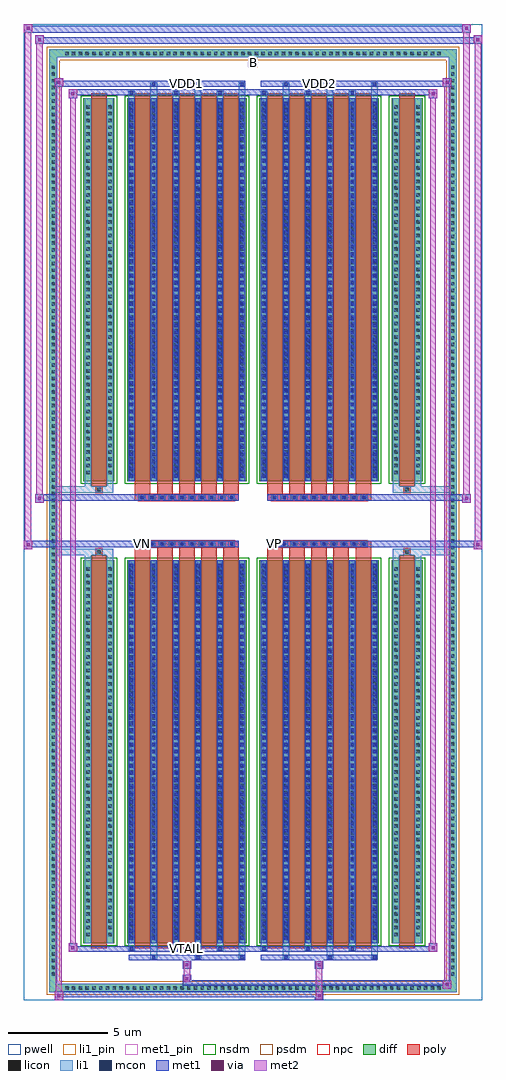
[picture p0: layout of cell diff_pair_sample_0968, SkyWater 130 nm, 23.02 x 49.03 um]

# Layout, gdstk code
import gdstk
lib = gdstk.Library(unit=1e-6, precision=5e-09)
def R(c, l, rs):  # rectangles x0, y0, x1, y1
    for r in rs: c.add(gdstk.rectangle(r[:2], r[2:], *l))
def A(c, l, x, y, w, h, nx, ny, dx, dy):  # array of equal rectangles
    R(c, l, [(x+i*dx, y+j*dy, x+i*dx+w, y+j*dy+h) for i in range(nx) for j in range(ny)])
def P(c, l, *ps):  # polygons
    for p in ps: c.add(gdstk.Polygon(p, *l))
pwell = (64, 44)
diff = (65, 20)
poly = (66, 20)
licon = (66, 44)
li1_pin = (67, 16)
li1 = (67, 20)
mcon = (67, 44)
met1_pin = (68, 16)
met1 = (68, 20)
via = (68, 44)
met2 = (69, 20)
nsdm = (93, 44)
psdm = (94, 20)
npc = (95, 20)

diff_pair_sample_0968 = lib.new_cell('diff_pair_sample_0968')
R(diff_pair_sample_0968, pwell, [(-11.51,-24.08,11.51,24.95), (-8.83,-22.27,-0.01,-0.805), (0.01,-22.27,8.83,-0.805), (-8.83,0.805,-0.01,22.27), (0.01,0.805,8.83,22.27)])
A(diff_pair_sample_0968, diff, -9.555, -23.68, 0.41, 0.41, 56, 2, 0.34, 46.95)
A(diff_pair_sample_0968, diff, -10.24, -22.985, 0.41, 0.41, 1, 135, 0, 0.34)
A(diff_pair_sample_0968, diff, 9.83, -22.985, 0.41, 0.41, 1, 135, 0, 0.34)
R(diff_pair_sample_0968, diff, [(-9.555,-23.68,9.555,-23.27), (-10.24,-22.985,-9.83,22.985), (9.83,-22.985,10.24,22.985), (-8.52,-21.225,-6.96,-1.985), (-6.32,-21.225,-0.32,-1.985), (0.32,-21.225,6.32,-1.985), (6.96,-21.225,8.52,-1.985), (-8.52,1.985,-6.96,21.225), (-6.32,1.985,-0.32,21.225), (0.32,1.985,6.32,21.225), (6.96,1.985,8.52,21.225), (-9.555,23.27,9.555,23.68)])
P(diff_pair_sample_0968, diff, [(10.24,23.68),(-10.24,23.68),(-10.24,-23.27),(-9.83,-23.27),(-9.83,23.27),(9.83,23.27),(9.83,-23.27),(-9.83,-23.27),(-10.24,-23.27),(-10.24,-23.68),(10.24,-23.68)])
A(diff_pair_sample_0968, poly, -5.93, -21.475, 0.78, 19.74, 5, 2, 1.11, 23.21)
A(diff_pair_sample_0968, poly, 0.71, -21.475, 0.78, 19.74, 5, 2, 1.11, 23.21)
A(diff_pair_sample_0968, poly, -5.93, -1.735, 0.78, 0.4, 5, 2, 1.11, 3.07)
A(diff_pair_sample_0968, poly, 0.71, -1.735, 0.78, 0.4, 5, 2, 1.11, 3.07)
A(diff_pair_sample_0968, poly, -5.735, -1.335, 0.33, 0.33, 10, 2, 0.5, 2.34)
A(diff_pair_sample_0968, poly, 0.905, -1.335, 0.33, 0.33, 10, 2, 0.5, 2.34)
R(diff_pair_sample_0968, poly, [(-8.13,-21.475,-7.35,-1.735), (7.35,-21.475,8.13,-1.735), (-7.905,-1.735,-7.575,-1.405), (-7.905,-1.735,-7.575,-1.405), (7.575,-1.735,7.905,-1.405), (7.575,-1.735,7.905,-1.405), (-5.93,-1.335,-0.71,-1.005), (0.71,-1.335,5.93,-1.005), (-5.93,1.005,-0.71,1.335), (0.71,1.005,5.93,1.335), (-7.905,1.405,-7.575,1.735), (-7.905,1.405,-7.575,1.735), (7.575,1.405,7.905,1.735), (7.575,1.405,7.905,1.735), (-8.13,1.735,-7.35,21.475), (7.35,1.735,8.13,21.475)])
A(diff_pair_sample_0968, licon, -9.435, -23.56, 0.17, 0.17, 56, 2, 0.34, 46.95)
A(diff_pair_sample_0968, licon, -10.12, -22.865, 0.17, 0.17, 1, 135, 0, 0.34)
A(diff_pair_sample_0968, licon, 9.95, -22.865, 0.17, 0.17, 1, 135, 0, 0.34)
A(diff_pair_sample_0968, licon, -8.38, -20.87, 0.17, 0.17, 1, 55, 0, 0.34)
A(diff_pair_sample_0968, licon, -7.27, -20.87, 0.17, 0.17, 1, 55, 0, 0.34)
A(diff_pair_sample_0968, licon, -6.18, -20.87, 0.17, 0.17, 6, 55, 1.11, 0.34)
A(diff_pair_sample_0968, licon, 0.46, -20.87, 0.17, 0.17, 6, 55, 1.11, 0.34)
A(diff_pair_sample_0968, licon, 7.1, -20.87, 0.17, 0.17, 1, 55, 0, 0.34)
A(diff_pair_sample_0968, licon, 8.21, -20.87, 0.17, 0.17, 1, 55, 0, 0.34)
A(diff_pair_sample_0968, licon, -5.655, -1.255, 0.17, 0.17, 10, 2, 0.5, 2.34)
A(diff_pair_sample_0968, licon, 0.985, -1.255, 0.17, 0.17, 10, 2, 0.5, 2.34)
A(diff_pair_sample_0968, licon, -8.38, 2.34, 0.17, 0.17, 1, 55, 0, 0.34)
A(diff_pair_sample_0968, licon, -7.27, 2.34, 0.17, 0.17, 1, 55, 0, 0.34)
A(diff_pair_sample_0968, licon, -6.18, 2.34, 0.17, 0.17, 6, 55, 1.11, 0.34)
A(diff_pair_sample_0968, licon, 0.46, 2.34, 0.17, 0.17, 6, 55, 1.11, 0.34)
A(diff_pair_sample_0968, licon, 7.1, 2.34, 0.17, 0.17, 1, 55, 0, 0.34)
A(diff_pair_sample_0968, licon, 8.21, 2.34, 0.17, 0.17, 1, 55, 0, 0.34)
R(diff_pair_sample_0968, licon, [(-7.825,-1.655,-7.655,-1.485), (7.655,-1.655,7.825,-1.485), (-7.825,1.485,-7.655,1.655), (7.655,1.485,7.825,1.655)])
R(diff_pair_sample_0968, li1_pin, [(-0.25,22.77,0.25,23.27)])
A(diff_pair_sample_0968, li1, -9.515, -23.64, 0.33, 0.33, 56, 2, 0.34, 46.95)
A(diff_pair_sample_0968, li1, -10.2, -22.945, 0.33, 0.33, 1, 135, 0, 0.34)
A(diff_pair_sample_0968, li1, 9.87, -22.945, 0.33, 0.33, 1, 135, 0, 0.34)
A(diff_pair_sample_0968, li1, -5.15, -22.03, 0.33, 0.805, 3, 2, 2.22, 43.255)
A(diff_pair_sample_0968, li1, -5.07, -22.03, 0.17, 0.17, 3, 2, 2.22, 43.89)
A(diff_pair_sample_0968, li1, 1.49, -22.03, 0.33, 0.805, 3, 2, 2.22, 43.255)
A(diff_pair_sample_0968, li1, 1.57, -22.03, 0.17, 0.17, 3, 2, 2.22, 43.89)
A(diff_pair_sample_0968, li1, -6.26, -21.6, 0.33, 0.375, 3, 2, 2.22, 42.825)
A(diff_pair_sample_0968, li1, -6.18, -21.6, 0.17, 0.17, 3, 2, 2.22, 43.03)
A(diff_pair_sample_0968, li1, 0.38, -21.6, 0.33, 0.375, 3, 2, 2.22, 42.825)
A(diff_pair_sample_0968, li1, 0.46, -21.6, 0.17, 0.17, 3, 2, 2.22, 43.03)
A(diff_pair_sample_0968, li1, -6.26, -21.225, 0.33, 19.24, 6, 2, 1.11, 23.21)
A(diff_pair_sample_0968, li1, 0.38, -21.225, 0.33, 19.24, 6, 2, 1.11, 23.21)
A(diff_pair_sample_0968, li1, -6.18, -21.05, 0.17, 0.17, 6, 53, 1.11, 0.36)
A(diff_pair_sample_0968, li1, -6.18, -21.05, 0.17, 18.89, 6, 2, 1.11, 23.21)
A(diff_pair_sample_0968, li1, 0.46, -21.05, 0.17, 0.17, 6, 53, 1.11, 0.36)
A(diff_pair_sample_0968, li1, 0.46, -21.05, 0.17, 18.89, 6, 2, 1.11, 23.21)
A(diff_pair_sample_0968, li1, -8.46, -20.95, 0.33, 0.33, 1, 55, 0, 0.34)
A(diff_pair_sample_0968, li1, -7.35, -20.95, 0.33, 0.33, 1, 55, 0, 0.34)
A(diff_pair_sample_0968, li1, -6.26, -20.95, 0.33, 0.33, 6, 55, 1.11, 0.34)
A(diff_pair_sample_0968, li1, 0.38, -20.95, 0.33, 0.33, 6, 55, 1.11, 0.34)
A(diff_pair_sample_0968, li1, 7.02, -20.95, 0.33, 0.33, 1, 55, 0, 0.34)
A(diff_pair_sample_0968, li1, 8.13, -20.95, 0.33, 0.33, 1, 55, 0, 0.34)
A(diff_pair_sample_0968, li1, -5.735, -1.335, 0.33, 0.33, 10, 2, 0.5, 2.34)
A(diff_pair_sample_0968, li1, 0.905, -1.335, 0.33, 0.33, 10, 2, 0.5, 2.34)
A(diff_pair_sample_0968, li1, -6.18, 2.16, 0.17, 0.17, 6, 53, 1.11, 0.36)
A(diff_pair_sample_0968, li1, 0.46, 2.16, 0.17, 0.17, 6, 53, 1.11, 0.36)
A(diff_pair_sample_0968, li1, -8.46, 2.26, 0.33, 0.33, 1, 55, 0, 0.34)
A(diff_pair_sample_0968, li1, -7.35, 2.26, 0.33, 0.33, 1, 55, 0, 0.34)
A(diff_pair_sample_0968, li1, -6.26, 2.26, 0.33, 0.33, 6, 55, 1.11, 0.34)
A(diff_pair_sample_0968, li1, 0.38, 2.26, 0.33, 0.33, 6, 55, 1.11, 0.34)
A(diff_pair_sample_0968, li1, 7.02, 2.26, 0.33, 0.33, 1, 55, 0, 0.34)
A(diff_pair_sample_0968, li1, 8.13, 2.26, 0.33, 0.33, 1, 55, 0, 0.34)
R(diff_pair_sample_0968, li1, [(-10.24,-23.68,-9.83,-23.27), (-10.24,-23.68,-9.83,-23.27), (-9.83,-23.68,9.83,-23.27), (9.83,-23.68,10.24,-23.27), (9.83,-23.68,10.24,-23.27), (-10.24,-23.27,-9.83,23.27), (9.83,-23.27,10.24,23.27), (-8.46,-21.225,-8.13,-1.985), (-7.35,-21.225,-7.02,-1.985), (7.02,-21.225,7.35,-1.985), (8.13,-21.225,8.46,-1.985), (-8.46,-1.985,-8.13,-1.405), (-7.35,-1.985,-7.02,-1.405), (7.02,-1.985,7.35,-1.405), (8.13,-1.985,8.46,-1.405), (-10.24,-1.735,-7.905,-1.405), (-8.46,-1.735,-7.905,-1.405), (-7.905,-1.735,-7.575,-1.405), (-7.575,-1.735,-7.02,-1.405), (7.02,-1.735,7.575,-1.405), (7.575,-1.735,7.905,-1.405), (7.575,-1.735,10.24,-1.405), (7.905,-1.735,8.46,-1.405), (-10.24,1.405,-7.905,1.735), (-8.46,1.405,-7.905,1.735), (-8.46,1.405,-8.13,1.985), (-7.905,1.405,-7.575,1.735), (-7.575,1.405,-7.02,1.735), (-7.35,1.405,-7.02,1.985), (7.02,1.405,7.575,1.735), (7.02,1.405,7.35,1.985), (7.575,1.405,7.905,1.735), (7.575,1.405,10.24,1.735), (7.905,1.405,8.46,1.735), (8.13,1.405,8.46,1.985), (-8.46,1.985,-8.13,21.225), (-7.35,1.985,-7.02,21.225), (7.02,1.985,7.35,21.225), (8.13,1.985,8.46,21.225), (-10.24,23.27,-9.83,23.68), (-10.24,23.27,-9.83,23.68), (-9.83,23.27,9.83,23.68), (9.83,23.27,10.24,23.68), (9.83,23.27,10.24,23.68)])
A(diff_pair_sample_0968, mcon, -5.07, -22.03, 0.17, 0.17, 3, 2, 2.22, 43.89)
A(diff_pair_sample_0968, mcon, 1.57, -22.03, 0.17, 0.17, 3, 2, 2.22, 43.89)
A(diff_pair_sample_0968, mcon, -6.18, -21.6, 0.17, 0.17, 3, 2, 2.22, 43.03)
A(diff_pair_sample_0968, mcon, 0.46, -21.6, 0.17, 0.17, 3, 2, 2.22, 43.03)
A(diff_pair_sample_0968, mcon, -6.18, -21.05, 0.17, 0.17, 6, 53, 1.11, 0.36)
A(diff_pair_sample_0968, mcon, 0.46, -21.05, 0.17, 0.17, 6, 53, 1.11, 0.36)
A(diff_pair_sample_0968, mcon, -5.655, -1.255, 0.17, 0.17, 10, 2, 0.5, 2.34)
A(diff_pair_sample_0968, mcon, 0.985, -1.255, 0.17, 0.17, 10, 2, 0.5, 2.34)
A(diff_pair_sample_0968, mcon, -6.18, 2.16, 0.17, 0.17, 6, 53, 1.11, 0.36)
A(diff_pair_sample_0968, mcon, 0.46, 2.16, 0.17, 0.17, 6, 53, 1.11, 0.36)
R(diff_pair_sample_0968, met1_pin, [(-3.455,-21.64,-3.185,-21.37), (-5.705,-1.295,-5.435,-1.025), (0.935,-1.295,1.205,-1.025), (-3.455,21.82,-3.185,22.09), (3.185,21.82,3.455,22.09)])
A(diff_pair_sample_0968, met1, -5.13, -22.09, 0.29, 0.29, 3, 2, 2.22, 43.89)
A(diff_pair_sample_0968, met1, 1.51, -22.09, 0.29, 0.29, 3, 2, 2.22, 43.89)
A(diff_pair_sample_0968, met1, -6.24, -21.66, 0.29, 0.29, 3, 2, 2.22, 43.03)
A(diff_pair_sample_0968, met1, 0.4, -21.66, 0.29, 0.29, 3, 2, 2.22, 43.03)
A(diff_pair_sample_0968, met1, -6.24, -21.225, 0.29, 19.24, 6, 2, 1.11, 23.21)
A(diff_pair_sample_0968, met1, 0.4, -21.225, 0.29, 19.24, 6, 2, 1.11, 23.21)
A(diff_pair_sample_0968, met1, -6.24, -21.11, 0.29, 0.29, 6, 53, 1.11, 0.36)
A(diff_pair_sample_0968, met1, 0.4, -21.11, 0.29, 0.29, 6, 53, 1.11, 0.36)
A(diff_pair_sample_0968, met1, -5.715, -1.315, 0.29, 0.29, 10, 2, 0.5, 2.34)
A(diff_pair_sample_0968, met1, 0.925, -1.315, 0.29, 0.29, 10, 2, 0.5, 2.34)
A(diff_pair_sample_0968, met1, -6.24, 2.1, 0.29, 0.29, 6, 53, 1.11, 0.36)
A(diff_pair_sample_0968, met1, 0.4, 2.1, 0.29, 0.29, 6, 53, 1.11, 0.36)
R(diff_pair_sample_0968, met1, [(-9.97,-24.08,-9.54,-23.65), (3.105,-24.08,3.535,-23.65), (-9.97,-23.94,3.535,-23.65), (9.54,-23.51,9.97,-23.08), (-3.535,-23.37,9.97,-23.08), (-3.535,-23.23,-3.105,-22.8), (-3.535,-22.52,-3.105,-22.09), (3.105,-22.52,3.535,-22.09), (-6.24,-22.09,-0.4,-21.8), (0.4,-22.09,6.24,-21.8), (-9.26,-21.66,-8.83,-21.23), (-9.26,-21.66,-6.24,-21.37), (-6.24,-21.66,-0.4,-21.37), (-0.4,-21.66,0.4,-21.37), (0.4,-21.66,6.24,-21.37), (6.24,-21.66,9.26,-21.37), (8.83,-21.66,9.26,-21.23), (-11.51,-1.435,-11.08,-1.005), (11.08,-1.435,11.51,-1.005), (-11.51,-1.335,-0.71,-1.005), (-5.93,-1.335,-0.71,-1.005), (0.71,-1.335,5.93,-1.005), (0.71,-1.335,11.51,-1.005), (-10.94,0.905,-10.51,1.335), (10.51,0.905,10.94,1.335), (-10.94,1.005,-5.93,1.335), (-5.93,1.005,-0.71,1.335), (0.71,1.005,5.93,1.335), (5.93,1.005,10.94,1.335), (-9.26,21.23,-8.83,21.66), (8.83,21.23,9.26,21.66), (-9.26,21.37,-6.24,21.66), (-6.24,21.37,-0.4,21.66), (-0.4,21.37,0.4,21.66), (0.4,21.37,6.24,21.66), (6.24,21.37,9.26,21.66), (-9.97,21.8,-9.54,22.23), (-9.97,21.8,-6.24,22.09), (-6.24,21.8,-0.4,22.09), (0.4,21.8,6.24,22.09), (6.24,21.8,9.97,22.09), (9.54,21.8,9.97,22.23), (-10.94,23.95,-10.51,24.38), (-10.94,23.95,-8.83,24.28), (-8.83,23.95,8.83,24.28), (8.83,23.95,11.51,24.28), (11.08,23.95,11.51,24.38), (-11.51,24.52,-11.08,24.95), (-11.51,24.52,-8.83,24.85), (-8.83,24.52,8.83,24.85), (8.83,24.52,10.94,24.85), (10.51,24.52,10.94,24.95)])
R(diff_pair_sample_0968, via, [(-9.83,-23.94,-9.68,-23.79), (3.245,-23.94,3.395,-23.79), (9.68,-23.37,9.83,-23.22), (-3.395,-23.09,-3.245,-22.94), (-3.395,-22.38,-3.245,-22.23), (3.245,-22.38,3.395,-22.23), (-9.12,-21.52,-8.97,-21.37), (8.97,-21.52,9.12,-21.37), (-11.37,-1.295,-11.22,-1.145), (11.22,-1.295,11.37,-1.145), (-10.8,1.045,-10.65,1.195), (10.65,1.045,10.8,1.195), (-9.12,21.37,-8.97,21.52), (8.97,21.37,9.12,21.52), (-9.83,21.94,-9.68,22.09), (9.68,21.94,9.83,22.09), (-10.8,24.09,-10.65,24.24), (11.22,24.09,11.37,24.24), (-11.37,24.66,-11.22,24.81), (10.65,24.66,10.8,24.81)])
R(diff_pair_sample_0968, met2, [(-9.97,-24.08,-9.54,-23.65), (-9.9,-24.08,-9.61,22.23), (-9.61,-24.08,-9.54,-23.65), (-9.92,-24.03,-9.59,-23.7), (3.155,-24.03,3.485,-23.7), (3.155,-23.7,3.485,-22.47), (9.54,-23.51,9.97,-23.08), (9.61,-23.51,9.9,22.23), (9.9,-23.51,9.97,-23.08), (9.59,-23.46,9.92,-23.13), (-3.485,-23.18,-3.155,-22.85), (-3.485,-22.85,-3.155,-22.47), (-3.485,-22.47,-3.155,-22.14), (3.155,-22.47,3.485,-22.14), (-9.26,-21.66,-8.83,-21.23), (-9.19,-21.66,-8.9,21.66), (-8.9,-21.66,-8.83,-21.23), (8.83,-21.66,9.26,-21.23), (8.9,-21.66,9.19,21.66), (9.19,-21.66,9.26,-21.23), (-9.21,-21.61,-8.88,-21.28), (8.88,-21.61,9.21,-21.28), (-11.51,-1.435,-11.08,-1.005), (-11.46,-1.435,-11.13,24.95), (-11.13,-1.435,-11.08,-1.005), (11.08,-1.435,11.51,-1.005), (11.13,-1.435,11.46,24.38), (11.46,-1.435,11.51,-1.005), (-11.46,-1.385,-11.13,-1.055), (11.13,-1.385,11.46,-1.055), (-10.94,0.905,-10.51,1.335), (-10.89,0.905,-10.56,24.38), (-10.56,0.905,-10.51,1.335), (10.51,0.905,10.94,1.335), (10.56,0.905,10.89,24.95), (10.89,0.905,10.94,1.335), (-10.89,0.955,-10.56,1.285), (10.56,0.955,10.89,1.285), (-9.26,21.23,-8.83,21.66), (-8.9,21.23,-8.83,21.66), (8.83,21.23,9.26,21.66), (9.19,21.23,9.26,21.66), (-9.21,21.28,-8.88,21.61), (8.88,21.28,9.21,21.61), (-9.97,21.8,-9.54,22.23), (-9.61,21.8,-9.54,22.23), (9.54,21.8,9.97,22.23), (9.9,21.8,9.97,22.23), (-9.92,21.85,-9.59,22.18), (9.59,21.85,9.92,22.18), (-10.94,23.95,-10.51,24.38), (-10.56,23.95,-10.51,24.38), (11.08,23.95,11.51,24.38), (11.46,23.95,11.51,24.38), (-10.89,24,-10.56,24.33), (11.13,24,11.46,24.33), (-11.51,24.52,-11.08,24.95), (-11.13,24.52,-11.08,24.95), (10.51,24.52,10.94,24.95), (10.89,24.52,10.94,24.95), (-11.46,24.57,-11.13,24.9), (10.56,24.57,10.89,24.9)])
R(diff_pair_sample_0968, nsdm, [(-8.65,-21.355,-6.83,-1.855), (-6.45,-21.355,-0.19,-1.855), (0.19,-21.355,6.45,-1.855), (6.83,-21.355,8.65,-1.855), (-8.65,1.855,-6.83,21.355), (-6.45,1.855,-0.19,21.355), (0.19,1.855,6.45,21.355), (6.83,1.855,8.65,21.355)])
P(diff_pair_sample_0968, psdm, [(10.37,23.81),(-10.37,23.81),(-10.37,-23.14),(-9.7,-23.14),(-9.7,23.14),(9.7,23.14),(9.7,-23.14),(-9.7,-23.14),(-10.37,-23.14),(-10.37,-23.81),(10.37,-23.81)])
A(diff_pair_sample_0968, npc, -5.755, -1.355, 0.37, 0.37, 10, 2, 0.5, 2.34)
A(diff_pair_sample_0968, npc, 0.885, -1.355, 0.37, 0.37, 10, 2, 0.5, 2.34)
R(diff_pair_sample_0968, npc, [(-7.925,-1.755,-7.555,-1.385), (7.555,-1.755,7.925,-1.385), (-5.755,-1.355,-4.885,-0.985), (-5.755,-1.355,-4.885,-0.985), (-5.255,-1.355,-4.385,-0.985), (-5.255,-1.355,-4.385,-0.985), (-4.755,-1.355,-3.885,-0.985), (-4.755,-1.355,-3.885,-0.985), (-4.255,-1.355,-3.385,-0.985), (-4.255,-1.355,-3.385,-0.985), (-3.755,-1.355,-2.885,-0.985), (-3.755,-1.355,-2.885,-0.985), (-3.255,-1.355,-2.385,-0.985), (-3.255,-1.355,-2.385,-0.985), (-2.755,-1.355,-1.885,-0.985), (-2.755,-1.355,-1.885,-0.985), (-2.255,-1.355,-1.385,-0.985), (-2.255,-1.355,-1.385,-0.985), (-1.755,-1.355,-0.885,-0.985), (-1.755,-1.355,-0.885,-0.985), (0.885,-1.355,1.755,-0.985), (0.885,-1.355,1.755,-0.985), (1.385,-1.355,2.255,-0.985), (1.385,-1.355,2.255,-0.985), (1.885,-1.355,2.755,-0.985), (1.885,-1.355,2.755,-0.985), (2.385,-1.355,3.255,-0.985), (2.385,-1.355,3.255,-0.985), (2.885,-1.355,3.755,-0.985), (2.885,-1.355,3.755,-0.985), (3.385,-1.355,4.255,-0.985), (3.385,-1.355,4.255,-0.985), (3.885,-1.355,4.755,-0.985), (3.885,-1.355,4.755,-0.985), (4.385,-1.355,5.255,-0.985), (4.385,-1.355,5.255,-0.985), (4.885,-1.355,5.755,-0.985), (4.885,-1.355,5.755,-0.985), (-5.755,0.985,-4.885,1.355), (-5.755,0.985,-4.885,1.355), (-5.255,0.985,-4.385,1.355), (-5.255,0.985,-4.385,1.355), (-4.755,0.985,-3.885,1.355), (-4.755,0.985,-3.885,1.355), (-4.255,0.985,-3.385,1.355), (-4.255,0.985,-3.385,1.355), (-3.755,0.985,-2.885,1.355), (-3.755,0.985,-2.885,1.355), (-3.255,0.985,-2.385,1.355), (-3.255,0.985,-2.385,1.355), (-2.755,0.985,-1.885,1.355), (-2.755,0.985,-1.885,1.355), (-2.255,0.985,-1.385,1.355), (-2.255,0.985,-1.385,1.355), (-1.755,0.985,-0.885,1.355), (-1.755,0.985,-0.885,1.355), (0.885,0.985,1.755,1.355), (0.885,0.985,1.755,1.355), (1.385,0.985,2.255,1.355), (1.385,0.985,2.255,1.355), (1.885,0.985,2.755,1.355), (1.885,0.985,2.755,1.355), (2.385,0.985,3.255,1.355), (2.385,0.985,3.255,1.355), (2.885,0.985,3.755,1.355), (2.885,0.985,3.755,1.355), (3.385,0.985,4.255,1.355), (3.385,0.985,4.255,1.355), (3.885,0.985,4.755,1.355), (3.885,0.985,4.755,1.355), (4.385,0.985,5.255,1.355), (4.385,0.985,5.255,1.355), (4.885,0.985,5.755,1.355), (4.885,0.985,5.755,1.355), (-7.925,1.385,-7.555,1.755), (7.555,1.385,7.925,1.755)])
diff_pair_sample_0968.add(gdstk.Label('VTAIL', (-3.32,-21.505), layer=68, texttype=5))
diff_pair_sample_0968.add(gdstk.Label('VN', (-5.57,-1.16), layer=68, texttype=5))
diff_pair_sample_0968.add(gdstk.Label('VP', (1.07,-1.16), layer=68, texttype=5))
diff_pair_sample_0968.add(gdstk.Label('B', (0,23.02), layer=67, texttype=5))
diff_pair_sample_0968.add(gdstk.Label('VDD2', (3.32,21.955), layer=68, texttype=5))
diff_pair_sample_0968.add(gdstk.Label('VDD1', (-3.32,21.955), layer=68, texttype=5))

lib.write_gds('diff_pair_sample_0968.gds')
